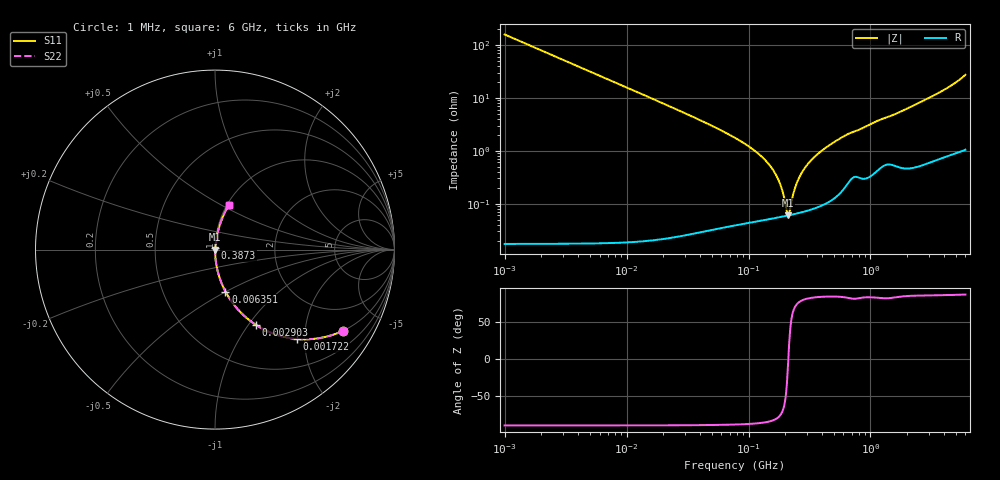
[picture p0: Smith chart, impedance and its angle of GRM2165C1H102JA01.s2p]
!Murata Part Number: GRM2165C1H102JA01
!These Parameters are Measured in Series Mode Connection
!Data Generated on Mar 30, 2021
!  o--ll--o
!Port1  Port2
!  o------o
!Operation Temp=25[degC], DC Bias Voltage=0[V]
!Freq. Start=1000[kHz] Stop=6[GHz] 401[Steps]
# Hz S RI R 50
!Freq.(Hz) S11(Real) S11(Imag) S21(Real) S21(Imag) S12(Real) S12(Imag) S22(Real) S22(Imag)
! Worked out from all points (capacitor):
!   401 points, 1 MHz to 6 GHz, reference 50 ohm
!   read as one part in series: C = 1.01 nF near 1.044 MHz
!   lowest |Z| = 60.3 mohm at 210.7 MHz (marker M1)
!   series resonance near 211.9 MHz, so ESL is about 560 pH
!   S11 on the Smith chart (normalised r, x): 1 MHz: 1.00, -3.16; 1.722 MHz: 1.00, -1.83; 2.903 MHz: 1.00, -1.09; 6.351 MHz: 1.00, -0.50; 387.3 MHz: 1.00, +0.02; 6 GHz: 1.02, +0.54
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1000000  0.7136 -0.452  0.2864 0.452  0.2864 0.452  0.7136 -0.452
1722402  0.4565 -0.498  0.5435 0.498  0.5435 0.498  0.4565 -0.498
2902843  0.2282 -0.4195  0.7718 0.4195  0.7718 0.4195  0.2282 -0.4195
4293785  0.1191 -0.3237  0.8809 0.3237  0.8809 0.3237  0.1191 -0.3237
6351220  0.0582 -0.2338  0.9418 0.2338  0.9418 0.2338  0.0582 -0.2338
1.843659e7  0.00736 -0.0842  0.9926 0.0842  0.9926 0.0842  0.00736 -0.0842
7.745967e7  0.000694 -0.0175  0.9993 0.0175  0.9993 0.0175  0.000694 -0.0175
1.170949e8  0.000547 -0.00927  0.9995 0.00927  0.9995 0.00927  0.000547 -0.00927
1.520136e8  0.000539 -0.00498  0.9995 0.00498  0.9995 0.00498  0.000539 -0.00498
1.809028e8  0.000561 -0.00234  0.9994 0.00234  0.9994 0.00234  0.000561 -0.00234
2.016844e8  0.000585 -0.000727  0.9994 0.000727  0.9994 0.000727  0.000585 -0.000727
2.106508e8  0.000597 -8.72e-05  0.9994 8.72e-05  0.9994 8.72e-05  0.000597 -8.72e-05
2.200158e8  0.00061 0.000553  0.9994 -0.000553  0.9994 -0.000553  0.00061 0.000553
2.400133e8  0.000641 0.00184  0.9994 -0.00184  0.9994 -0.00184  0.000641 0.00184
2.618284e8  0.000679 0.00313  0.9993 -0.00313  0.9993 -0.00313  0.000679 0.00313
2.919064e8  0.000738 0.00479  0.9993 -0.00479  0.9993 -0.00479  0.000738 0.00479
3.325952e8  0.00083 0.00686  0.9992 -0.00686  0.9992 -0.00686  0.00083 0.00686
3.872876e8  0.000981 0.00944  0.999 -0.00944  0.999 -0.00944  0.000981 0.00944
6.386712e8  0.00264 0.0199  0.9974 -0.0199  0.9974 -0.0199  0.00264 0.0199
1.428092e9  0.0074 0.0438  0.9926 -0.0438  0.9926 -0.0438  0.0074 0.0438
3.5601e9  0.021 0.1182  0.979 -0.1182  0.979 -0.1182  0.021 0.1182
6e9  0.0774 0.2487  0.9226 -0.2487  0.9226 -0.2487  0.0774 0.2487
